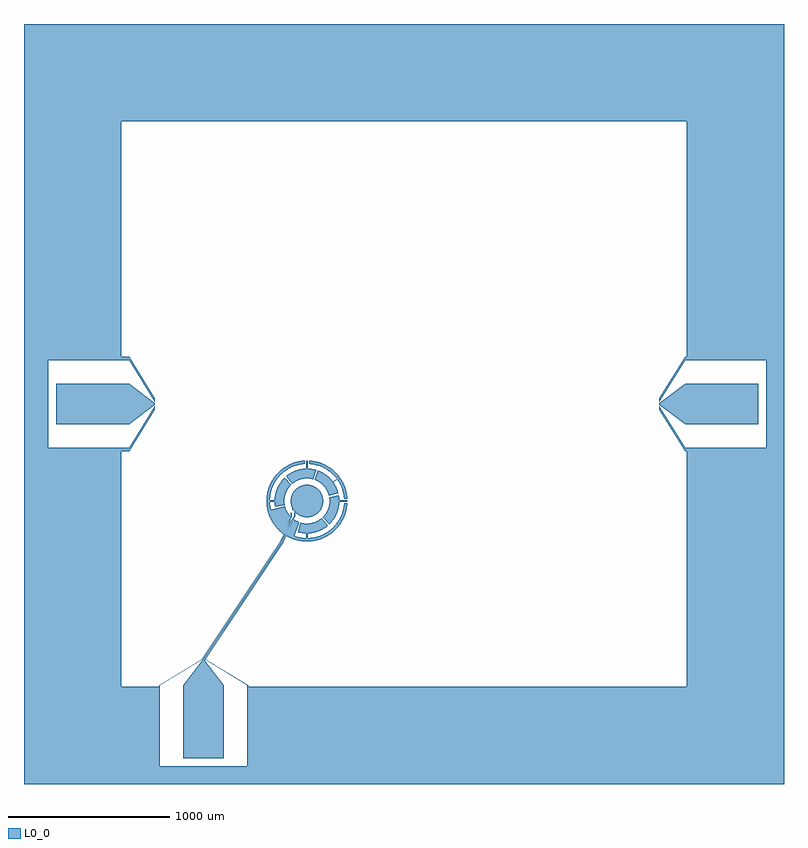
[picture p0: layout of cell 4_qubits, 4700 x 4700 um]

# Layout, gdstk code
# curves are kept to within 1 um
import gdstk
lib = gdstk.Library(unit=1e-6, precision=1e-09)
def R(c, l, rs):  # rectangles x0, y0, x1, y1
    for r in rs: c.add(gdstk.rectangle(r[:2], r[2:], *l))
def P(c, l, *ps):  # polygons
    for p in ps: c.add(gdstk.Polygon(p, *l))
L0_0 = (0, 0)

c_4_qubits = lib.new_cell('4_qubits')
R(c_4_qubits, L0_0, [(1950,1745,2000,1755), (1950,1745,2000,1755), (1745,1950,1755,2000), (1745,1950,1755,2000)])
P(c_4_qubits, L0_0, [(650,2059),(810,2315),(810,2335),(650,2079),(150,2079),(150,2621),(650,2621),(810,2365),(810,2385),(650,2641),(50,2641),(50,2059)],
  [(650,2225),(810,2345),(810,2355),(650,2475),(200,2475),(200,2225)],
  [(4090,2641),(3930,2385),(3930,2365),(4090,2621),(4590,2621),(4590,2079),(4090,2079),(3930,2335),(3930,2315),(4090,2059),(4690,2059),(4690,2641)],
  [(4090,2475),(3930,2355),(3930,2345),(4090,2225),(4540,2225),(4540,2475)],
  [(1386,610),(1121,770),(1117,770),(1382,610),(1382,110),(840,110),(840,610),(1105,770),(1101,770),(836,610),(836,10),(1386,10)],
  [(1236,610),(1113,770),(1109,770),(986,610),(986,160),(1236,160)],
  [(4700,0),(4700,4700),(0,4700),(0,2059),(50,2059),(50,2641),(600,2641),(600,4100),(4100,4100),(4100,2641),(4690,2641),(4690,2059),(4100,2059),(4100,600),(1386,600),(1386,10),(836,10),(836,600),(600,600),(600,2059),(50,2059),(0,2059),(0,0)],
  [(1948.666,1901.755),(1931.499,1921.925),(1911.847,1940.541),(1890.297,1956.922),(1867.102,1970.878),(1842.535,1982.244),(1816.882,1990.887),(1790.445,1996.707),(1765,1999.54),(1765,1979.501),(1787.21,1976.97),(1811.532,1971.616),(1835.132,1963.665),(1857.734,1953.208),(1879.073,1940.368),(1898.899,1925.297),(1916.979,1908.171),(1932.478,1889.994)],
  [(1662.229,1859.07),(1675.923,1868.796),(1690.682,1876.812),(1706.296,1883.004),(1722.538,1887.28),(1739.176,1889.581),(1755.97,1889.873),(1772.677,1888.151),(1789.059,1884.441),(1805.798,1942.059),(1782.396,1947.359),(1763.323,1949.556),(1724.984,1948.429),(1687.565,1940.005),(1665.26,1931.161),(1648.28,1922.2),(1620.908,1902.759),(1659.636,1856.931)],
  [(1944.227,1797.707),(1937.116,1820.623),(1927.312,1842.523),(1912.193,1867.019),(1897.012,1885.601),(1879.715,1902.23),(1860.551,1916.669),(1839.795,1928.709),(1817.748,1938.176),(1797.423,1881.723),(1812.857,1875.096),(1830.164,1864.777),(1843.332,1854.351),(1855.157,1842.423),(1865.469,1829.164),(1874.118,1814.766),(1880.981,1799.436),(1885.959,1783.395)],
  [(1953.43,1895.328),(1951.079,1898.564),(1951.066,1898.555),(1938.177,1889.19),(1910.628,1869.175),(1912.979,1865.939)],
  [(1999.348,1768.039),(1995.086,1799.326),(1985.433,1834.09),(1972.956,1863.095),(1955.715,1892.044),(1939.53,1880.285),(1955.12,1854.048),(1967.96,1823.439),(1975.479,1795.38),(1979.501,1765),(1999.54,1765)],
  [(1891.854,1609.013),(1907.717,1627.015),(1921.311,1646.788),(1932.438,1668.046),(1940.939,1690.484),(1946.693,1713.779),(1949.615,1737.595),(1949.664,1761.589),(1946.839,1785.417),(1887.787,1774.792),(1889.765,1758.113),(1889.73,1741.316),(1887.685,1724.645),(1883.658,1708.339),(1876.293,1689.583),(1868.148,1674.894),(1858.304,1661.285),(1846.9,1648.954),(1888.429,1605.648)],
  [(1616.305,1550.182),(1612.58,1541.165),(1615.287,1539.412),(1645,1611.34),(1676.397,1656.25),(1676.397,1676.25),(1672.397,1676.25),(1672.397,1656.25),(1643,1614.804)],
  [(1612.874,1550.182),(1641,1618.268),(1654.397,1656.25),(1654.397,1676.25),(1650.397,1676.25),(1649.255,1652.79),(1634.531,1670.836),(1622.916,1691.266),(1507.002,1691.266),(1514.567,1665.91),(1525.038,1640.948),(1537.258,1618.695),(1550.829,1598.901),(1571.635,1574.826),(1595.138,1553.741),(1609.888,1542.955)],
  [(1622.651,1691.858),(1614.041,1716.605),(1526.648,1695.14),(1521.834,1721.009),(1520.06,1745),(1550.076,1745),(1553.161,1714.583),(1612.213,1725.208),(1610.101,1755.327),(1614.497,1785.197),(1625.194,1813.431),(1641.696,1838.715),(1570.768,1838.715),(1562.137,1818.612),(1556.424,1800.282),(1551.795,1776.738),(1550.077,1755),(1520.06,1755),(1521.834,1778.991),(1525.377,1799.443),(1537.801,1838.715),(1516.274,1838.715),(1505.845,1803.743),(1500.367,1763.535),(1501.018,1727.462),(1507.002,1691.266)],
  [(1537.907,1838.975),(1548.77,1861.385),(1564.415,1885.862),(1583.021,1908.171),(1604.29,1927.957),(1635,1949.186),(1664.868,1963.665),(1700.557,1974.623),(1735,1979.501),(1735,1999.54),(1696.257,1994.155),(1657.465,1982.244),(1625,1966.506),(1591.62,1943.431),(1571.635,1925.174),(1553.741,1904.862),(1538.148,1882.735),(1527.044,1863.095),(1516.274,1838.715)],
  [(1643.857,1841.289),(1653.1,1851.046),(1611.571,1894.352),(1589.376,1869.163),(1570.768,1838.715),(1641.696,1838.715)],
  [(1751.441,1849.99),(1734.214,1848.746),(1714.747,1843.58),(1696.71,1834.618),(1680.834,1822.223),(1667.765,1806.898),(1658.031,1789.265),(1652.028,1770.039),(1650,1750),(1652.646,1727.146),(1661.734,1703),(1658.147,1703),(1658.147,1697),(1665.212,1697),(1682.944,1675.814),(1704.216,1661.096),(1725.746,1652.986),(1748.559,1650.01),(1751.441,1650.01)],
  [(1754.322,1650.093),(1771.449,1652.327),(1790.586,1658.606),(1808.077,1668.593),(1823.212,1681.882),(1835.377,1697.935),(1843.062,1713.402),(1847.972,1729.961),(1850,1750),(1847.972,1770.039),(1841.969,1789.265),(1833.841,1804.504),(1821.218,1820.199),(1805.707,1833.047),(1790.586,1841.394),(1771.449,1847.673),(1751.441,1849.99),(1751.441,1650.01)],
  [(1754.514,1500.041),(1781.512,1501.994),(1811.284,1507.636),(1811.284,1528.318),(1783.106,1522.395),(1755,1520.06),(1755,1550.071),(1784.512,1553),(1811.284,1559.632),(1811.284,1624.136),(1787.27,1615.052),(1760.824,1610.419),(1737.323,1610.575),(1710.941,1615.559),(1694.202,1557.941),(1717.604,1552.641),(1745,1550.074),(1745,1520.06),(1729.265,1520.937),(1700.557,1525.377),(1672.092,1533.602),(1702.577,1618.277),(1684.158,1626.449),(1667.19,1637.12),(1647,1607.876),(1618.007,1537.692),(1649.141,1521.248),(1683.118,1509.113),(1718.488,1501.994)],
  [(1812.522,1507.944),(1846.712,1519.464),(1882.735,1538.148),(1915.26,1562.413),(1943.431,1591.62),(1966.506,1625),(1982.244,1657.465),(1994.155,1696.257),(1999.54,1735),(1979.501,1735),(1974.623,1700.557),(1963.665,1664.868),(1949.186,1635),(1927.957,1604.29),(1905.13,1580.193),(1875.615,1557.332),(1842.79,1539.548),(1811.284,1528.318),(1811.284,1507.636)],
  [(1812.435,1559.995),(1847.557,1575.407),(1879.092,1597.241),(1840.364,1643.069),(1826.908,1633.016),(1811.284,1624.136),(1811.284,1559.632)],
  [(650,2059),(810,2315),(810,2335),(650,2079),(150,2079),(150,2621),(650,2621),(810,2365),(810,2385),(650,2641),(50,2641),(50,2059)],
  [(650,2225),(810,2345),(810,2355),(650,2475),(200,2475),(200,2225)],
  [(4090,2641),(3930,2385),(3930,2365),(4090,2621),(4590,2621),(4590,2079),(4090,2079),(3930,2335),(3930,2315),(4090,2059),(4690,2059),(4690,2641)],
  [(4090,2475),(3930,2355),(3930,2345),(4090,2225),(4540,2225),(4540,2475)],
  [(1386,610),(1121,770),(1117,770),(1382,610),(1382,110),(840,110),(840,610),(1105,770),(1101,770),(836,610),(836,10),(1386,10)],
  [(1236,610),(1113,770),(1109,770),(986,610),(986,160),(1236,160)],
  [(4700,0),(4700,4700),(0,4700),(0,2059),(50,2059),(50,2641),(600,2641),(600,4100),(4100,4100),(4100,2641),(4690,2641),(4690,2059),(4100,2059),(4100,600),(1386,600),(1386,10),(836,10),(836,600),(600,600),(600,2059),(50,2059),(0,2059),(0,0)],
  [(1948.666,1901.755),(1931.499,1921.925),(1911.847,1940.541),(1890.297,1956.922),(1867.102,1970.878),(1842.535,1982.244),(1816.882,1990.887),(1790.445,1996.707),(1765,1999.54),(1765,1979.501),(1787.21,1976.97),(1811.532,1971.616),(1835.132,1963.665),(1857.734,1953.208),(1879.073,1940.368),(1898.899,1925.297),(1916.979,1908.171),(1932.478,1889.994)],
  [(1662.229,1859.07),(1675.923,1868.796),(1690.682,1876.812),(1706.296,1883.004),(1722.538,1887.28),(1739.176,1889.581),(1755.97,1889.873),(1772.677,1888.151),(1789.059,1884.441),(1805.798,1942.059),(1782.396,1947.359),(1763.323,1949.556),(1724.984,1948.429),(1687.565,1940.005),(1665.26,1931.161),(1648.28,1922.2),(1620.908,1902.759),(1659.636,1856.931)],
  [(1944.227,1797.707),(1937.116,1820.623),(1927.312,1842.523),(1912.193,1867.019),(1897.012,1885.601),(1879.715,1902.23),(1860.551,1916.669),(1839.795,1928.709),(1817.748,1938.176),(1797.423,1881.723),(1812.857,1875.096),(1830.164,1864.777),(1843.332,1854.351),(1855.157,1842.423),(1865.469,1829.164),(1874.118,1814.766),(1880.981,1799.436),(1885.959,1783.395)],
  [(1953.43,1895.328),(1951.079,1898.564),(1951.066,1898.555),(1938.177,1889.19),(1910.628,1869.175),(1912.979,1865.939)],
  [(1999.348,1768.039),(1995.086,1799.326),(1985.433,1834.09),(1972.956,1863.095),(1955.715,1892.044),(1939.53,1880.285),(1955.12,1854.048),(1967.96,1823.439),(1975.479,1795.38),(1979.501,1765),(1999.54,1765)],
  [(1891.854,1609.013),(1907.717,1627.015),(1921.311,1646.788),(1932.438,1668.046),(1940.939,1690.484),(1946.693,1713.779),(1949.615,1737.595),(1949.664,1761.589),(1946.839,1785.417),(1887.787,1774.792),(1889.765,1758.113),(1889.73,1741.316),(1887.685,1724.645),(1883.658,1708.339),(1876.293,1689.583),(1868.148,1674.894),(1858.304,1661.285),(1846.9,1648.954),(1888.429,1605.648)],
  [(1616.305,1550.182),(1612.58,1541.165),(1615.287,1539.412),(1645,1611.34),(1676.397,1656.25),(1676.397,1676.25),(1672.397,1676.25),(1672.397,1656.25),(1643,1614.804)],
  [(1612.874,1550.182),(1641,1618.268),(1654.397,1656.25),(1654.397,1676.25),(1650.397,1676.25),(1649.255,1652.79),(1634.531,1670.836),(1622.916,1691.266),(1507.002,1691.266),(1514.567,1665.91),(1525.038,1640.948),(1537.258,1618.695),(1550.829,1598.901),(1571.635,1574.826),(1595.138,1553.741),(1609.888,1542.955)],
  [(1622.651,1691.858),(1614.041,1716.605),(1526.648,1695.14),(1521.834,1721.009),(1520.06,1745),(1550.076,1745),(1553.161,1714.583),(1612.213,1725.208),(1610.101,1755.327),(1614.497,1785.197),(1625.194,1813.431),(1641.696,1838.715),(1570.768,1838.715),(1562.137,1818.612),(1556.424,1800.282),(1551.795,1776.738),(1550.077,1755),(1520.06,1755),(1521.834,1778.991),(1525.377,1799.443),(1537.801,1838.715),(1516.274,1838.715),(1505.845,1803.743),(1500.367,1763.535),(1501.018,1727.462),(1507.002,1691.266)],
  [(1537.907,1838.975),(1548.77,1861.385),(1564.415,1885.862),(1583.021,1908.171),(1604.29,1927.957),(1635,1949.186),(1664.868,1963.665),(1700.557,1974.623),(1735,1979.501),(1735,1999.54),(1696.257,1994.155),(1657.465,1982.244),(1625,1966.506),(1591.62,1943.431),(1571.635,1925.174),(1553.741,1904.862),(1538.148,1882.735),(1527.044,1863.095),(1516.274,1838.715)],
  [(1643.857,1841.289),(1653.1,1851.046),(1611.571,1894.352),(1589.376,1869.163),(1570.768,1838.715),(1641.696,1838.715)],
  [(1751.441,1849.99),(1734.214,1848.746),(1714.747,1843.58),(1696.71,1834.618),(1680.834,1822.223),(1667.765,1806.898),(1658.031,1789.265),(1652.028,1770.039),(1650,1750),(1652.646,1727.146),(1661.734,1703),(1658.147,1703),(1658.147,1697),(1665.212,1697),(1682.944,1675.814),(1704.216,1661.096),(1725.746,1652.986),(1748.559,1650.01),(1751.441,1650.01)],
  [(1754.322,1650.093),(1771.449,1652.327),(1790.586,1658.606),(1808.077,1668.593),(1823.212,1681.882),(1835.377,1697.935),(1843.062,1713.402),(1847.972,1729.961),(1850,1750),(1847.972,1770.039),(1841.969,1789.265),(1833.841,1804.504),(1821.218,1820.199),(1805.707,1833.047),(1790.586,1841.394),(1771.449,1847.673),(1751.441,1849.99),(1751.441,1650.01)],
  [(1754.514,1500.041),(1781.512,1501.994),(1811.284,1507.636),(1811.284,1528.318),(1783.106,1522.395),(1755,1520.06),(1755,1550.071),(1784.512,1553),(1811.284,1559.632),(1811.284,1624.136),(1787.27,1615.052),(1760.824,1610.419),(1737.323,1610.575),(1710.941,1615.559),(1694.202,1557.941),(1717.604,1552.641),(1745,1550.074),(1745,1520.06),(1729.265,1520.937),(1700.557,1525.377),(1672.092,1533.602),(1702.577,1618.277),(1684.158,1626.449),(1667.19,1637.12),(1647,1607.876),(1618.007,1537.692),(1649.141,1521.248),(1683.118,1509.113),(1718.488,1501.994)],
  [(1812.522,1507.944),(1846.712,1519.464),(1882.735,1538.148),(1915.26,1562.413),(1943.431,1591.62),(1966.506,1625),(1982.244,1657.465),(1994.155,1696.257),(1999.54,1735),(1979.501,1735),(1974.623,1700.557),(1963.665,1664.868),(1949.186,1635),(1927.957,1604.29),(1905.13,1580.193),(1875.615,1557.332),(1842.79,1539.548),(1811.284,1528.318),(1811.284,1507.636)],
  [(1812.435,1559.995),(1847.557,1575.407),(1879.092,1597.241),(1840.364,1643.069),(1826.908,1633.016),(1811.284,1624.136),(1811.284,1559.632)],
  [(1587.481,1497.106),(1588.423,1498.606),(1589.286,1500.153),(1590.068,1501.743),(1609.635,1544.33),(1606,1546),(1586.433,1503.413),(1585.744,1502.01),(1584.982,1500.645),(1584.151,1499.322),(1102.674,775.539),(1106.004,773.323)],
  [(1594.142,1492.675),(1597.337,1498.403),(1616.904,1540.99),(1613.269,1542.66),(1593.702,1500.073),(1590.812,1494.891),(1109.335,771.108),(1112.665,768.892)],
  [(1600.803,1488.244),(1604.606,1495.063),(1624.174,1537.65),(1620.539,1539.32),(1600.972,1496.733),(1597.472,1490.46),(1115.996,766.677),(1119.326,764.461)])

lib.write_gds('4_qubits.gds')
